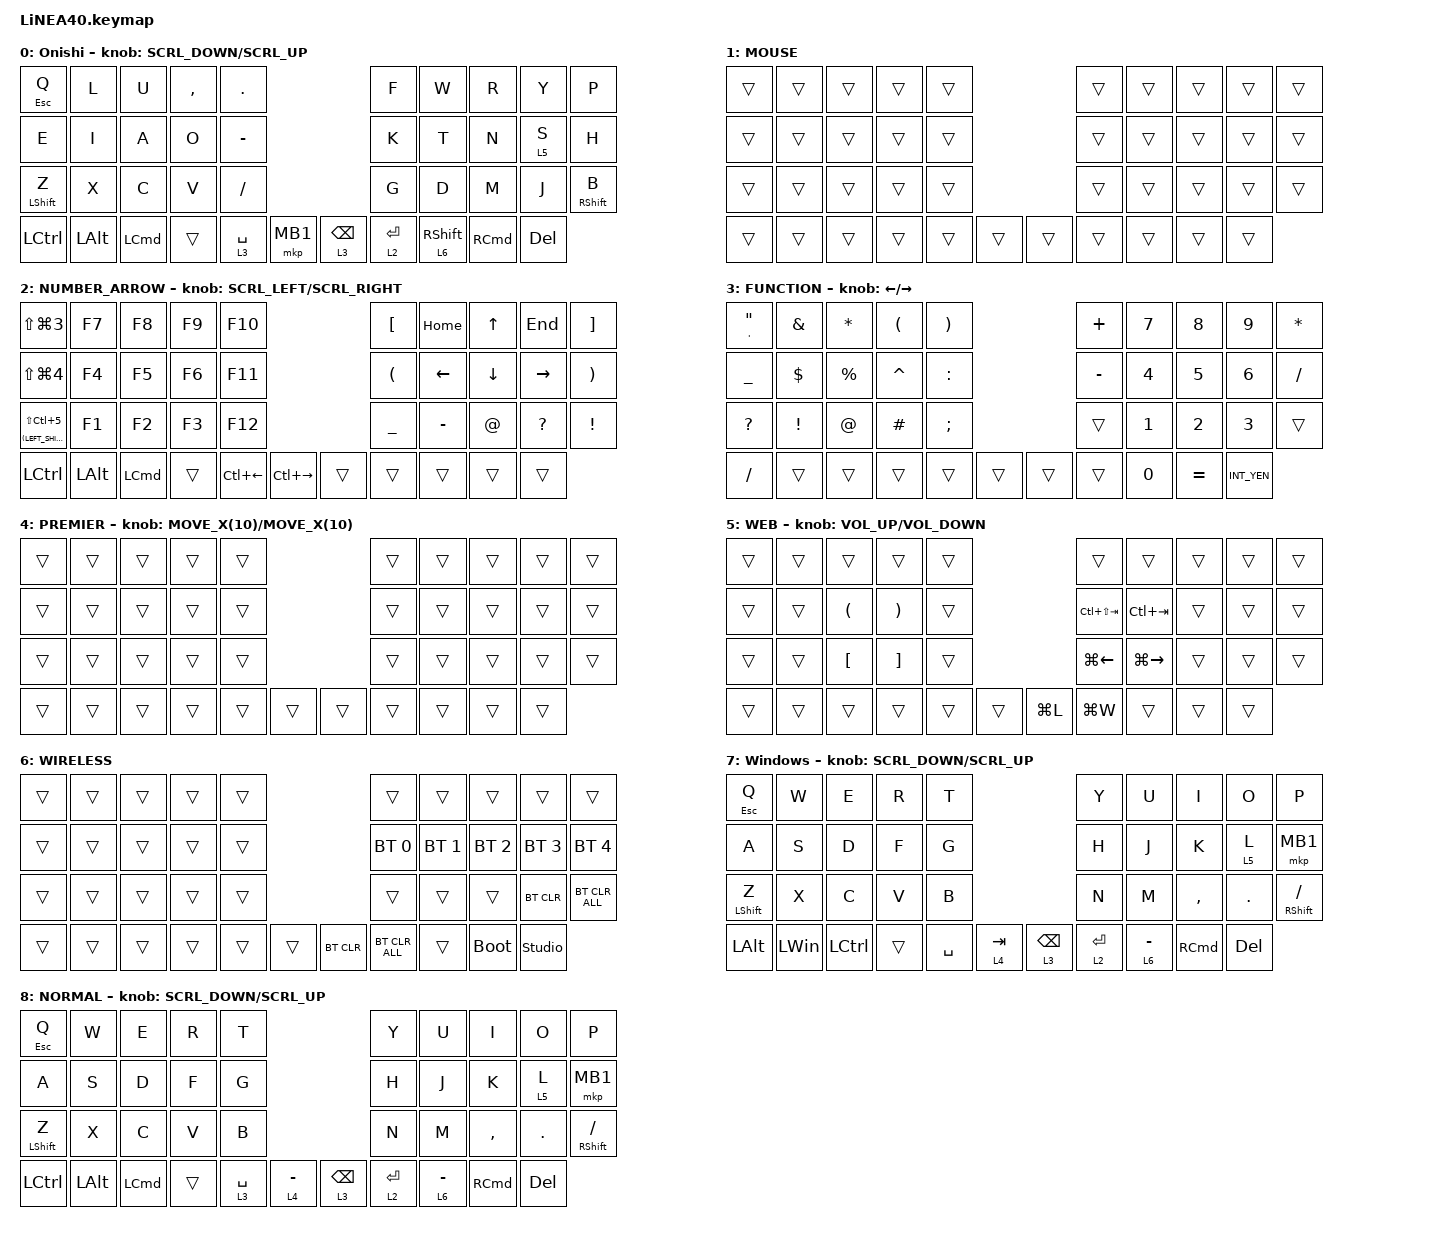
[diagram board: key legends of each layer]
#define ZMK_POINTING_DEFAULT_SCRL_VAL 150

#include <dt-bindings/zmk/input_transform.h>
#include <input/processors.dtsi>
#include <zephyr/dt-bindings/input/input-event-codes.h>
#include <behaviors.dtsi>
#include <dt-bindings/zmk/bt.h>
#include <dt-bindings/zmk/keys.h>
#include <dt-bindings/zmk/pointing.h>

#define MOUSE 1
#define MARK 2
#define CURSOR 3
#define FUNCTION 4
#define SCROLL 5
#define WIRELESS 6

//mouse cursol

&mmv {
    delay-ms = <20>;
    trigger-period-ms = <5>;
    time-to-max-speed-ms = <100>;
    acceleration-exponent = <2>;
};

//mouse scroll

&msc {
    delay-ms = <3>;
    trigger-period-ms = <3>;
    time-to-max-speed-ms = <100>;
    acceleration-exponent = <0>;
};

/ {
    input_processors {
        zip_wheel_scaler: zip_wheel_scaler {
            compatible = "zmk,input-processor-scaler";
            #input-processor-cells = <2>;
            type = <INPUT_EV_REL>;
            codes = <INPUT_REL_WHEEL>;
            track-remainders;
        };
    };
};

&msc_input_listener {
    speed_up {
        layers = <FUNCTION>;
        input-processors = <&zip_wheel_scaler 3 1>; //スクロールを3倍速にする
    };
};

&trackball_listener {
    scroller {
        layers = <SCROLL>;
        input-processors =
            <&zip_xy_transform INPUT_TRANSFORM_Y_INVERT>,
            //スクロール方向を逆転,,,,,,,,,,,,,,,,,,,,,,,,,,,,,,,,,,,,,,,,,,,,,,,,,,,,,,,,,,,,,,,,,,,,,,,,,,
            <&zip_xy_scaler 1 3>,
            <&zip_xy_to_scroll_mapper>;
    };
};

/ {
    combos {
        compatible = "zmk,combos";

        Lang01 {
            bindings = <&kp LANGUAGE_1>;
            key-positions = <12 13>;
        };

        Lang02 {
            bindings = <&kp LANGUAGE_2>;
            key-positions = <12 11>;
        };

        Tabkey {
            bindings = <&kp TAB>;
            key-positions = <10 11>;
        };

        Leftclick {
            bindings = <&mkp MB1>;
            key-positions = <17 18>;
        };

        Rightclick {
            bindings = <&mkp MB2>;
            key-positions = <18 19>;
        };

        Centerclick {
            bindings = <&mkp MB3>;
            key-positions = <7 8>;
        };
    };

    behaviors {
        re_kp: sensor_rotate_kp {
            compatible = "zmk,behavior-sensor-rotate-var";
            #sensor-binding-cells = <2>;
            bindings = <&kp>, <&kp>;
        };

        mouse_scrl: mouse_wheel_scrl {
            compatible = "zmk,behavior-sensor-rotate-var";
            #sensor-binding-cells = <2>;
            bindings = <&msc>, <&msc>;

            tap-ms = <20>;
        };
    };

    keymap {
        compatible = "zmk,keymap";

        Onishi {
            bindings = <
&mt ESC Q         &kp L         &kp U             &kp COMMA  &kp PERIOD                                &kp F        &kp W  &kp R              &kp Y              &kp P
&kp E             &kp I         &kp A             &kp O      &kp MINUS                                 &kp K        &kp T  &kp N              &lt 5 S            &kp H
&mt LEFT_SHIFT Z  &kp X         &kp C             &kp V      &kp SLASH                                 &kp G        &kp D  &kp M              &kp J              &mt RIGHT_SHIFT B
&kp LCTRL         &kp LEFT_ALT  &kp LEFT_COMMAND  &trans     &lt 3 SPACE  &mkp MB1    &lt 3 BACKSPACE  &lt 2 ENTER         &lt 6 RIGHT_SHIFT  &kp RIGHT_COMMAND  &kp DELETE
            >;

            sensor-bindings = <&mouse_scrl SCRL_DOWN SCRL_UP>;
        };

        MOUSE {
            bindings = <
&trans  &trans  &trans  &trans  &trans                    &trans  &trans  &trans  &trans  &trans
&trans  &trans  &trans  &trans  &trans                    &trans  &trans  &trans  &trans  &trans
&trans  &trans  &trans  &trans  &trans                    &trans  &trans  &trans  &trans  &trans
&trans  &trans  &trans  &trans  &trans  &trans    &trans  &trans          &trans  &trans  &trans
            >;
        };

        NUMBER_ARROW {
            bindings = <
&kp LS(LG(NUMBER_3))               &kp F7        &kp F8            &kp F9  &kp F10                                &kp LEFT_BRACKET      &kp HOME        &kp UP_ARROW    &kp END          &kp RIGHT_BRACKET
&kp LS(LG(NUMBER_4))               &kp F4        &kp F5            &kp F6  &kp F11                                &kp LEFT_PARENTHESIS  &kp LEFT_ARROW  &kp DOWN_ARROW  &kp RIGHT_ARROW  &kp RIGHT_PARENTHESIS
&mt (LEFT_SHIFT) LS(LC(NUMBER_5))  &kp F1        &kp F2            &kp F3  &kp F12                                &kp UNDER             &kp MINUS       &kp AT_SIGN     &kp QUESTION     &kp EXCLAMATION
&kp LEFT_CONTROL                   &kp LEFT_ALT  &kp LEFT_COMMAND  &trans  &kp LC(LEFT)  &kp LC(RIGHT)    &trans  &trans                                &trans          &trans           &trans
            >;

            sensor-bindings = <&mouse_scrl SCRL_LEFT SCRL_RIGHT>;
        };

        FUNCTION {
            bindings = <
&mt SQT DOUBLE_QUOTES  &kp AMPERSAND    &kp ASTERISK  &kp LEFT_PARENTHESIS  &kp RIGHT_PARENTHESIS                    &kp PLUS   &kp NUMBER_7  &kp NUMBER_8  &kp N9        &kp ASTRK
&kp UNDERSCORE         &kp DOLLAR       &kp PERCENT   &kp CARET             &kp COLON                                &kp MINUS  &kp NUMBER_4  &kp NUMBER_5  &kp NUMBER_6  &kp SLASH
&kp QUESTION           &kp EXCLAMATION  &kp AT_SIGN   &kp HASH              &kp SEMICOLON                            &trans     &kp NUMBER_1  &kp NUMBER_2  &kp NUMBER_3  &trans
&kp SLASH              &trans           &trans        &trans                &trans                 &trans    &trans  &trans                   &kp NUMBER_0  &kp EQUAL     &kp INT_YEN
            >;

            sensor-bindings = <&inc_dec_kp LEFT RIGHT_ARROW>;
        };

        PREMIER {
            bindings = <
&trans  &trans  &trans  &trans  &trans                    &trans  &trans  &trans  &trans  &trans
&trans  &trans  &trans  &trans  &trans                    &trans  &trans  &trans  &trans  &trans
&trans  &trans  &trans  &trans  &trans                    &trans  &trans  &trans  &trans  &trans
&trans  &trans  &trans  &trans  &trans  &trans    &trans  &trans          &trans  &trans  &trans
            >;

            sensor-bindings = <&mouse_scrl MOVE_X(10) MOVE_X(10)>;
        };

        WEB {
            bindings = <
&trans  &trans  &trans                &trans                 &trans                       &trans              &trans               &trans  &trans  &trans
&trans  &trans  &kp LEFT_PARENTHESIS  &kp RIGHT_PARENTHESIS  &trans                       &kp LC(LS(TAB))     &kp LC(TAB)          &trans  &trans  &trans
&trans  &trans  &kp LEFT_BRACKET      &kp RIGHT_BRACKET      &trans                       &kp LG(LEFT_ARROW)  &kp LG(RIGHT_ARROW)  &trans  &trans  &trans
&trans  &trans  &trans                &trans                 &trans  &trans    &kp LG(L)  &kp LG(W)                                &trans  &trans  &trans
            >;

            sensor-bindings = <&inc_dec_kp C_VOLUME_UP C_VOLUME_DOWN>;
        };

        WIRELESS {
            bindings = <
&trans  &trans  &trans  &trans  &trans                        &trans          &trans        &trans        &trans        &trans
&trans  &trans  &trans  &trans  &trans                        &bt BT_SEL 0    &bt BT_SEL 1  &bt BT_SEL 2  &bt BT_SEL 3  &bt BT_SEL 4
&trans  &trans  &trans  &trans  &trans                        &trans          &trans        &trans        &bt BT_CLR    &bt BT_CLR_ALL
&trans  &trans  &trans  &trans  &trans  &trans    &bt BT_CLR  &bt BT_CLR_ALL                &trans        &bootloader   &studio_unlock
            >;
        };

        Windows {
            bindings = <
&mt ESC Q         &kp W         &kp E             &kp R   &kp T                                    &kp Y        &kp U  &kp I        &kp O              &kp P
&kp A             &kp S         &kp D             &kp F   &kp G                                    &kp H        &kp J  &kp K        &lt 5 L            &mkp MB1
&mt LEFT_SHIFT Z  &kp X         &kp C             &kp V   &kp B                                    &kp N        &kp M  &kp COMMA    &kp PERIOD         &mt RIGHT_SHIFT SLASH
&kp LEFT_ALT      &kp LEFT_WIN  &kp LEFT_CONTROL  &trans  &kp SPACE  &lt 4 TAB    &lt 3 BACKSPACE  &lt 2 ENTER         &lt 6 MINUS  &kp RIGHT_COMMAND  &kp DELETE
            >;

            sensor-bindings = <&mouse_scrl SCRL_DOWN SCRL_UP>;
        };

        NORMAL {
            bindings = <
&mt ESC Q         &kp W         &kp E             &kp R   &kp T                                        &kp Y        &kp U  &kp I        &kp O              &kp P
&kp A             &kp S         &kp D             &kp F   &kp G                                        &kp H        &kp J  &kp K        &lt 5 L            &mkp MB1
&mt LEFT_SHIFT Z  &kp X         &kp C             &kp V   &kp B                                        &kp N        &kp M  &kp COMMA    &kp PERIOD         &mt RIGHT_SHIFT SLASH
&kp LCTRL         &kp LEFT_ALT  &kp LEFT_COMMAND  &trans  &lt 3 SPACE  &lt 4 MINUS    &lt 3 BACKSPACE  &lt 2 ENTER         &lt 6 MINUS  &kp RIGHT_COMMAND  &kp DELETE
            >;

            sensor-bindings = <&mouse_scrl SCRL_DOWN SCRL_UP>;
        };
    };
};
